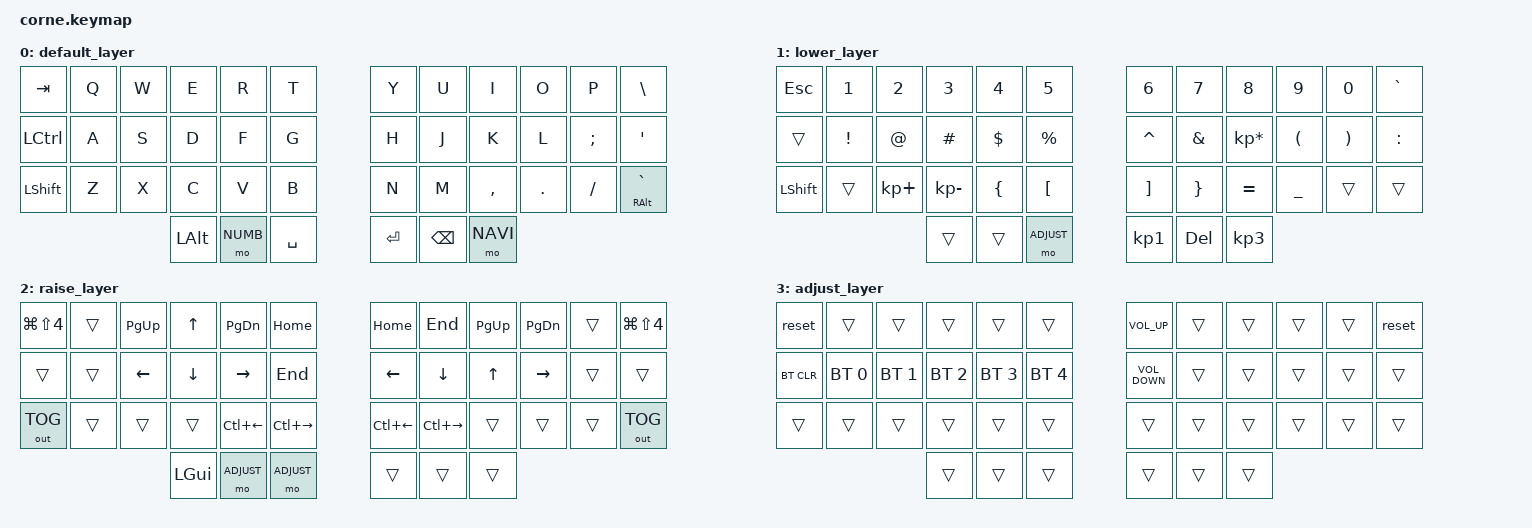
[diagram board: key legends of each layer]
/*
 * Copyright (c) 2020 The ZMK Contributors
 *
 * SPDX-License-Identifier: MIT
 * To use home rows - &hm LSHFT F
 */

#include <behaviors.dtsi>
#include <dt-bindings/zmk/keys.h>
#include <dt-bindings/zmk/bt.h>
#include <dt-bindings/zmk/outputs.h>

#define QWERTY 0
#define NUMB 1
#define NAVI 2
#define ADJUST 3

/ {

    behaviors {        
        hm: homerow_mods {
        compatible = "zmk,behavior-hold-tap";
        label = "HOMEROW_MODS";
        #binding-cells = <2>;
        tapping-term-ms = <150>;
        quick_tap_ms = <0>;
        flavor = "tap-preferred";
        bindings = <&kp>, <&kp>;
        };
    };

        keymap {
                compatible = "zmk,keymap";

                default_layer {
// .--------------------------------------------------------------.       .-----------------------------------------------------------.
// |   Tab        |    Q    |    W   |   E    |    R    |    T    |       |   Y   |    U    |    I    |    O    |     P    |    \     |
// |--------------+---------+--------+--------+---------+---------|       |-------+---------+---------+---------+----------+----------|
// |   CTRL       |    A    |    S   |   D    |    F    |    G    |       |   H   |    J    |    K    |    L    |     ;    |     '    |
// |--------------+---------+--------+--------+---------+---------|       |-------+---------+---------+---------+----------+----------|
// |   SHFT       |    Z    |    X   |   C    |    V    |    B    |       |   N   |    M    |    ,    |    .    |     /    | ` | ALT  |
// '---------------------------------+--------+---------+---------+       |-------+---------+---------+-------------------------------'
//                                   |  LALT  |   MO1   |   SPC   |       |  ENT  |   BKSP  |   MO2   |
//                                   '--------+---------+---------'       '-------+---------+---------'
                        bindings = <
   &kp TAB        &kp Q       &kp W      &kp E     &kp R           &kp T   &kp Y  &kp U           &kp I        &kp O     &kp P      &kp BACKSLASH
   &kp LCTRL      &kp A       &kp S      &kp D     &kp F           &kp G   &kp H  &kp J           &kp K        &kp L     &kp SEMI   &kp SQT
   &kp LSHFT      &kp Z       &kp X      &kp C     &kp V           &kp B   &kp N  &kp M           &kp COMMA    &kp DOT   &kp FSLH   &mt RALT GRAVE
                              &kp LALT    &mo NUMB   &kp SPACE             &kp RET         &kp BSPC     &mo NAVI
                        >;
                };
                
                lower_layer {
// .--------------------------------------------------------------.       .-----------------------------------------------------------.
// |   ESC        |    1    |    2   |   3    |    4    |    5    |       |   6   |    7    |    8    |    9    |     0    |    `     |
// |--------------+---------+--------+--------+---------+---------|       |-------+---------+---------+---------+----------+----------|
// |              |    !    |    @   |   #    |    $    |    %    |       |   ^   |    &    |    *    |    (    |     )    |     :    |
// |--------------+---------+--------+--------+---------+---------|       |-------+---------+---------+---------+----------+----------|
// |   SHFT       |         |    +   |   -    |    {    |    [    |       |   ]   |    }    |    =    |    _    |          |          |
// '---------------------------------+--------+---------+---------+       |-------+---------+---------+-------------------------------'
//                                   |        |         |   MO3   |       |   ,   |   DEL   |    ?    |
//                                   '--------+---------+---------'       '-------+---------+---------'
                        bindings = <
   &kp ESC    &kp N1       &kp N2            &kp N3             &kp N4               &kp N5            &kp N6                   &kp N7                     &kp N8                 &kp N9                   &kp N0     &kp GRAVE
   &trans     &kp EXCL     &kp AT            &kp HASH           &kp DLLR             &kp PRCNT         &kp CARET                &kp AMPS                   &kp KP_MULTIPLY        &kp LPAR                 &kp RPAR   &kp COLON
   &kp LSHFT  &trans       &kp KP_PLUS       &kp KP_MINUS       &kp LEFT_BRACE       &kp LEFT_BRACKET  &kp RIGHT_BRACKET        &kp RIGHT_BRACE            &kp EQUAL           &kp UNDERSCORE           &trans     &trans
                           &trans            &trans             &mo ADJUST           &kp KP_N1         &kp DEL                &kp KP_N3
                        >;
                };
                
                raise_layer {
// .----------------------------------------------------------------.       .-----------------------------------------------------------------.
// |   CMD+SHIFT+4  |       |   PU   |   UP   |    PD    |   HOME   |       |   HOME  |    END   |   PU    |   PD    |          | CMD+SHIFT+4 |
// |----------------+-------+--------+--------+----------+----------|       |---------+----------+---------+---------+----------+-------------|
// |                |       |  LEFT  |  DOWN  |   RIGHT  |   END    |       |   LEFT  |   DOWN   |   UP    |  RIGHT  |          |             |
// |----------------+-------+--------+--------+----------+----------|       |---------+----------+---------+---------+----------+-------------|
// |     OUT_TOG    |       |        |        |CTRL+LEFT |CTRL+RIGHT|       |CTRL+LEFT|CTRL+RIGHT|         |         |          |   OUT_TOG   |
// '---------------------------------+--------+----------+----------+       |---------+----------+---------+----------------------------------'
//                                   |        |   MO3    |          |       |         |          |         |
//                                   '--------+----------+----------'       '---------+----------+---------'

                        bindings = <
   &kp LG(LS(N4))  &trans     &kp PAGE_UP        &kp UP_ARROW      &kp PAGE_DOWN       &kp HOME                &kp HOME             &kp END                 &kp PAGE_UP        &kp PAGE_DOWN      &trans       &kp LG(LS(N4))
   &trans          &trans     &kp LEFT_ARROW     &kp DOWN_ARROW    &kp RIGHT_ARROW     &kp END                 &kp LEFT             &kp DOWN                &kp UP             &kp RIGHT          &trans       &trans
   &out OUT_TOG    &trans     &trans             &trans            &kp LC(LEFT_ARROW)  &kp LC(RIGHT_ARROW)     &kp LC(LEFT_ARROW)   &kp LC(RIGHT_ARROW)     &trans             &trans             &trans       &out OUT_TOG
                              &kp LGUI           &mo ADJUST        &mo ADJUST          &trans                  &trans               &trans
                        >;
                };

                adjust_layer {
// .--------------------------------------------------------.       .--------------------------------------------------------------.
// |         |        |        |        |         |         |       |  VOL+  |        |         |         |          |             |
// |---------+--------+--------+--------+---------+---------|       |--------+--------+---------+---------+----------+-------------|
// |  BTCLR  |  BT1   |  BT2   |  BT3   |  BT4    |  BT5    |       |  VOL-  |        |         |         |          |             |
// |---------+--------+--------+--------+---------+---------|       |--------+--------+---------+---------+----------+-------------|
// |         |        |        |        |         |         |       |        |        |         |         |          |             |
// '---------------------------+--------+---------+---------+       |--------+--------+---------+----------------------------------'
//                             |        |         |         |       |        |        |         |
//                             '--------+---------+---------'       '--------+--------+---------'

                        bindings = <
   &reset      &trans          &trans         &trans          &trans          &trans            &kp C_VOLUME_UP    &trans &trans &trans &trans &reset
   &bt BT_CLR  &bt BT_SEL 0    &bt BT_SEL 1   &bt BT_SEL 2    &bt BT_SEL 3    &bt BT_SEL 4      &kp C_VOLUME_DOWN  &trans &trans &trans &trans &trans
   &trans      &trans          &trans         &trans          &trans          &trans            &trans             &trans &trans &trans &trans &trans
                               &trans         &trans          &trans          &trans            &trans             &trans
                        >;
                };
        };
};
